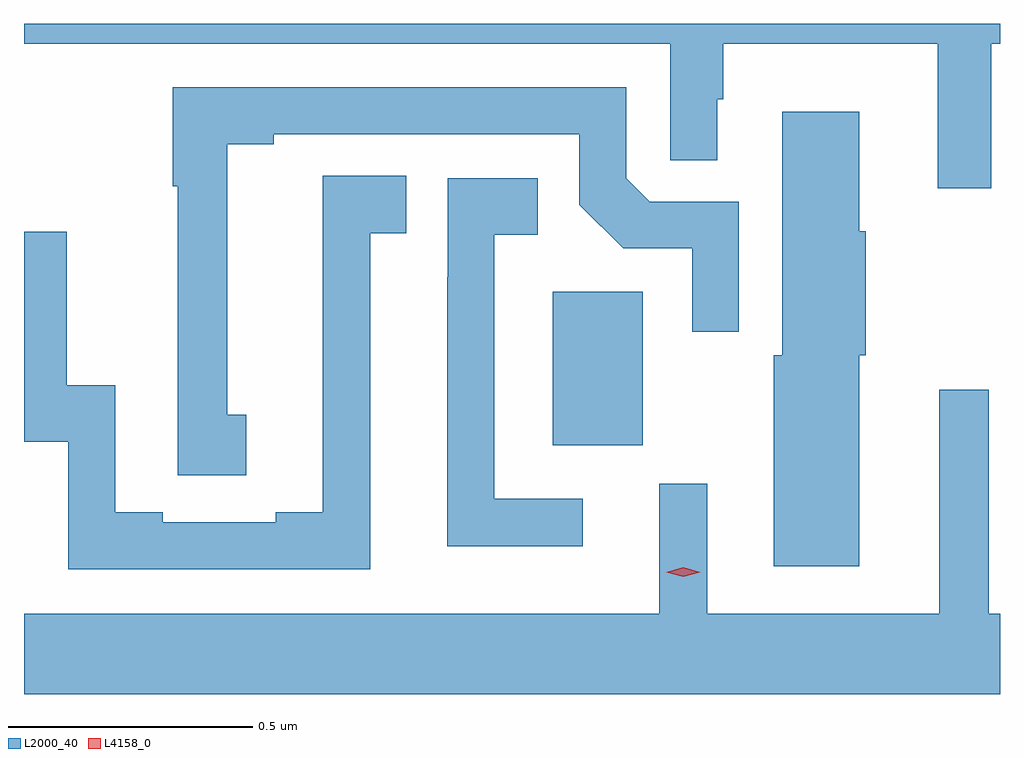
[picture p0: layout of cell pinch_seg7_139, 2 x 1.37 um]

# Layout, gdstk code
import gdstk
lib = gdstk.Library(unit=1e-6, precision=1e-09)
def R(c, l, rs):  # rectangles x0, y0, x1, y1
    for r in rs: c.add(gdstk.rectangle(r[:2], r[2:], *l))
def P(c, l, *ps):  # polygons
    for p in ps: c.add(gdstk.Polygon(p, *l))
L2000_40 = (2000, 40)
L4158_0 = (4158, 0)

pinch_seg7_139 = lib.new_cell('pinch_seg7_139')
R(pinch_seg7_139, L2000_40, [(1073.759,1018.442,1073.944,1018.756)])
P(pinch_seg7_139, L2000_40, [(1072.676,1019.264),(1074,1019.264),(1074,1019.026),(1074.097,1019.026),(1074.097,1019.151),(1074.109,1019.151),(1074.109,1019.264),(1074.548,1019.264),(1074.548,1018.968),(1074.658,1018.968),(1074.658,1019.264),(1074.676,1019.264),(1074.676,1019.305),(1072.676,1019.305)],
  [(1073.131,1018.504),(1073.092,1018.504),(1073.092,1019.059),(1073.188,1019.059),(1073.188,1019.079),(1073.814,1019.079),(1073.814,1018.935),(1073.904,1018.845),(1074.045,1018.845),(1074.045,1018.674),(1074.141,1018.674),(1074.141,1018.941),(1073.958,1018.941),(1073.91,1018.989),(1073.91,1019.175),(1072.981,1019.175),(1072.981,1018.972),(1072.991,1018.972),(1072.991,1018.38),(1073.131,1018.38)],
  [(1074.388,1018.626),(1074.401,1018.626),(1074.401,1018.88),(1074.388,1018.88),(1074.388,1019.125),(1074.23,1019.125),(1074.23,1018.626),(1074.212,1018.626),(1074.212,1018.194),(1074.388,1018.194)],
  [(1073.386,1018.876),(1073.459,1018.876),(1073.459,1018.994),(1073.288,1018.994),(1073.288,1018.304),(1073.192,1018.304),(1073.192,1018.284),(1072.96,1018.284),(1072.96,1018.304),(1072.863,1018.304),(1072.863,1018.565),(1072.764,1018.565),(1072.764,1018.879),(1072.676,1018.879),(1072.676,1018.449),(1072.767,1018.449),(1072.767,1018.188),(1073.386,1018.188)],
  [(1073.821,1018.332),(1073.64,1018.332),(1073.64,1018.873),(1073.729,1018.873),(1073.729,1018.989),(1073.544,1018.989),(1073.544,1018.786),(1073.543,1018.786),(1073.543,1018.235),(1073.821,1018.235)],
  [(1074.676,1018.096),(1074.653,1018.096),(1074.653,1018.555),(1074.551,1018.555),(1074.551,1018.096),(1074.076,1018.096),(1074.076,1018.363),(1073.978,1018.363),(1073.978,1018.096),(1072.676,1018.096),(1072.676,1017.932),(1074.676,1017.932)])
P(pinch_seg7_139, L4158_0, [(1074.027,1018.172),(1073.992,1018.182),(1073.992,1018.182),(1073.992,1018.182),(1074.027,1018.192),(1074.062,1018.182),(1074.062,1018.182),(1074.062,1018.182)])

lib.write_gds('pinch_seg7_139.gds')
